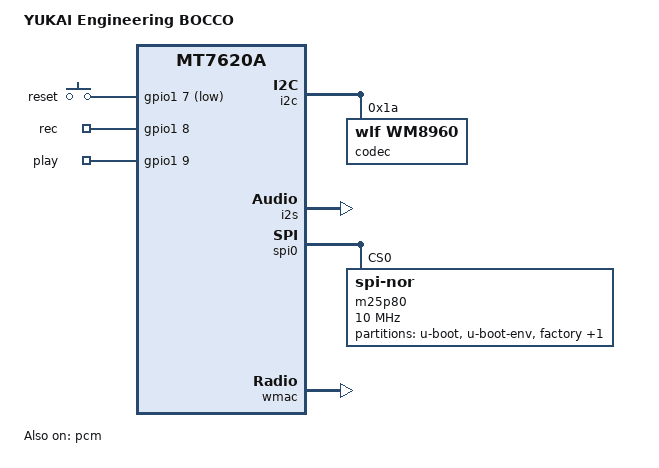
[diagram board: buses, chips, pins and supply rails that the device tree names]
/dts-v1/;

#include "mt7620a.dtsi"

#include <dt-bindings/gpio/gpio.h>
#include <dt-bindings/input/input.h>

/ {
	compatible = "yukai,bocco", "ralink,mt7620a-soc";
	model = "YUKAI Engineering BOCCO";

	keys {
		compatible = "gpio-keys";

		reset {
			label = "reset";
			gpios = <&gpio1 7 GPIO_ACTIVE_LOW>;
			linux,code = <KEY_RESTART>;
		};
	};

	gpio_export {
		compatible = "gpio-export";
		#size-cells = <0>;

		s1 {
			gpio-export,name = "rec";
			gpios = <&gpio1 8 GPIO_ACTIVE_HIGH>;
		};
		s2 {
			gpio-export,name = "play";
			gpios = <&gpio1 9 GPIO_ACTIVE_HIGH>;
		};
	};

	sound {
		compatible = "simple-audio-card";
		simple-audio-card,name = "Audio-I2S";
		simple-audio-card,format = "i2s";
		simple-audio-card,bitclock-master = <&dailink0_master>;
		simple-audio-card,frame-master = <&dailink0_master>;
		simple-audio-card,widgets =
			"Headphone", "Headphones";
		simple-audio-card,routing =
			"Headphones", "HP_L",
			"Headphones", "HP_R";
		simple-audio-card,mclk-fs = <256>;

		simple-audio-card,cpu {
			sound-dai = <&i2s>;
		};

		dailink0_master: simple-audio-card,codec {
			sound-dai = <&codec>;
		};
	};
};

&gpio0 {
	status = "okay";
};

&gpio1 {
	status = "okay";
};

&gpio2 {
	status = "okay";
};

&gpio3 {
	status = "okay";
};

&i2c {
	status = "okay";

	codec: wm8960@1a {
		#sound-dai-cells = <0>;
		compatible = "wlf,wm8960";
		reg = <0x1a>;

		wlf,shared-lrclk;
	};
};

&i2s {
	#sound-dai-cells = <0>;
	status = "okay";
	pinctrl-names = "default";
	pinctrl-0 = <&pcm_i2s_pins>;
};

&spi0 {
	status = "okay";

	m25p80@0 {
		compatible = "jedec,spi-nor";
		reg = <0>;
		spi-max-frequency = <10000000>;

		partitions {
			compatible = "fixed-partitions";
			#address-cells = <1>;
			#size-cells = <1>;

			partition@0 {
				label = "u-boot";
				reg = <0x0 0x30000>;
				read-only;
			};

			partition@30000 {
				label = "u-boot-env";
				reg = <0x30000 0x10000>;
				read-only;
			};

			factory: partition@40000 {
				label = "factory";
				reg = <0x40000 0x10000>;
				read-only;
			};

			partition@50000 {
				compatible = "denx,uimage";
				label = "firmware";
				reg = <0x50000 0x7b0000>;
			};
		};
	};
};

&pcm {
	status = "okay";
};

&gdma {
	status = "okay";
};

&pinctrl {
	state_default: pinctrl0 {
		gpio {
			ralink,group = "spi refclk", "rgmii1";
			ralink,function = "gpio";
		};
	};
};

&ethernet {
	pinctrl-names = "default";
	pinctrl-0 = <&ephy_pins>;
	mtd-mac-address = <&factory 0x4>;
	mediatek,portmap = "llllw";
};

&gsw {
	ralink,port4 = "ephy";
};

&wmac {
	ralink,mtd-eeprom = <&factory 0>;
};
